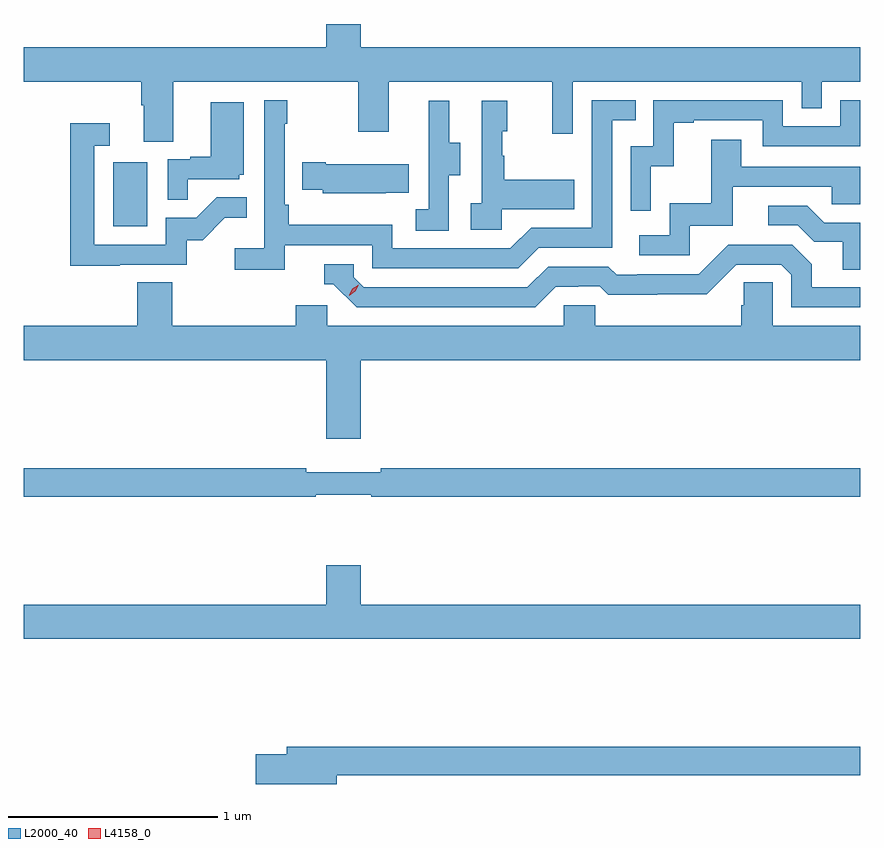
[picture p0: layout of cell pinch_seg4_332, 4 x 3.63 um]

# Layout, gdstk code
import gdstk
lib = gdstk.Library(unit=1e-6, precision=1e-09)
def R(c, l, rs):  # rectangles x0, y0, x1, y1
    for r in rs: c.add(gdstk.rectangle(r[:2], r[2:], *l))
def P(c, l, *ps):  # polygons
    for p in ps: c.add(gdstk.Polygon(p, *l))
L2000_40 = (2000, 40)
L4158_0 = (4158, 0)

pinch_seg4_332 = lib.new_cell('pinch_seg4_332')
R(pinch_seg4_332, L2000_40, [(967.184,810.78,967.348,811.087)])
P(pinch_seg4_332, L2000_40, [(967.471,811.472),(968.356,811.472),(968.356,811.233),(968.503,811.233),(968.503,811.472),(969.284,811.472),(969.284,811.224),(969.381,811.224),(969.381,811.472),(970.476,811.472),(970.476,811.345),(970.572,811.345),(970.572,811.472),(970.757,811.472),(970.757,811.636),(968.368,811.636),(968.368,811.748),(968.204,811.748),(968.204,811.636),(966.757,811.636),(966.757,811.472),(967.319,811.472),(967.319,811.36),(967.331,811.36),(967.331,811.186),(967.471,811.186)],
  [(968.006,810.69),(968.424,810.69),(968.424,810.579),(969.121,810.579),(969.22,810.678),(969.57,810.678),(969.57,811.287),(969.683,811.287),(969.683,811.383),(969.474,811.383),(969.474,810.774),(969.183,810.774),(969.084,810.675),(968.52,810.675),(968.52,810.787),(968.024,810.787),(968.024,810.883),(968.004,810.883),(968.004,811.271),(968.017,811.271),(968.017,811.384),(967.908,811.384),(967.908,810.676),(967.767,810.676),(967.767,810.574),(968.006,810.574)],
  [(969.756,811.067),(969.866,811.067),(969.866,811.275),(969.961,811.275),(969.961,811.287),(970.29,811.287),(970.29,811.164),(970.757,811.164),(970.757,811.383),(970.662,811.383),(970.662,811.26),(970.386,811.26),(970.386,811.383),(969.768,811.383),(969.768,811.164),(969.66,811.164),(969.66,810.855),(969.756,810.855)],
  [(968.79,811.024),(968.845,811.024),(968.845,811.179),(968.791,811.179),(968.791,811.381),(968.693,811.381),(968.693,811.167),(968.694,811.167),(968.694,810.863),(968.631,810.863),(968.631,810.76),(968.79,810.76)],
  [(969.042,810.863),(969.389,810.863),(969.389,811.003),(969.055,811.003),(969.055,811.118),(969.045,811.118),(969.045,811.236),(969.07,811.236),(969.07,811.381),(968.946,811.381),(968.946,810.89),(968.895,810.89),(968.895,810.765),(969.042,810.765)],
  [(967.541,811.005),(967.788,811.005),(967.788,811.026),(967.81,811.026),(967.81,811.375),(967.652,811.375),(967.652,811.114),(967.553,811.114),(967.553,811.101),(967.446,811.101),(967.446,810.907),(967.541,810.907)],
  [(967.217,810.597),(967.536,810.597),(967.536,810.714),(967.612,810.714),(967.719,810.821),(967.823,810.821),(967.823,810.92),(967.679,810.92),(967.581,810.822),(967.437,810.822),(967.437,810.693),(967.095,810.693),(967.095,811.167),(967.168,811.167),(967.168,811.273),(966.979,811.273),(966.979,810.592),(967.217,810.592)],
  [(969.942,810.783),(970.147,810.783),(970.147,810.969),(970.621,810.969),(970.621,810.885),(970.757,810.885),(970.757,811.065),(970.189,811.065),(970.189,811.195),(970.045,811.195),(970.045,810.892),(969.846,810.892),(969.846,810.738),(969.699,810.738),(969.699,810.642),(969.942,810.642)],
  [(968.489,810.941),(968.597,810.941),(968.597,811.078),(968.2,811.078),(968.2,811.086),(968.089,811.086),(968.089,810.956),(968.187,810.956),(968.187,810.938),(968.489,810.938)],
  [(970.757,810.798),(970.585,810.798),(970.504,810.879),(970.317,810.879),(970.317,810.786),(970.458,810.786),(970.538,810.706),(970.673,810.706),(970.673,810.574),(970.757,810.574)],
  [(969.301,810.492),(969.408,810.492),(969.408,810.495),(969.511,810.495),(969.553,810.453),(969.786,810.453),(969.786,810.455),(970.022,810.455),(970.164,810.597),(970.38,810.597),(970.428,810.549),(970.428,810.393),(970.757,810.393),(970.757,810.489),(970.525,810.489),(970.525,810.599),(970.431,810.693),(970.125,810.693),(969.984,810.552),(969.691,810.552),(969.691,810.549),(969.592,810.549),(969.553,810.588),(969.264,810.588),(969.165,810.489),(968.382,810.489),(968.334,810.537),(968.334,810.6),(968.195,810.6),(968.195,810.504),(968.238,810.504),(968.349,810.393),(969.202,810.393)],
  [(968.368,810.14),(970.757,810.14),(970.757,810.304),(970.338,810.304),(970.338,810.512),(970.201,810.512),(970.201,810.402),(970.187,810.402),(970.187,810.304),(969.489,810.304),(969.489,810.402),(969.339,810.402),(969.339,810.304),(968.208,810.304),(968.208,810.402),(968.057,810.402),(968.057,810.304),(967.466,810.304),(967.466,810.512),(967.301,810.512),(967.301,810.304),(966.757,810.304),(966.757,810.14),(968.204,810.14),(968.204,809.766),(968.368,809.766)],
  [(968.153,809.496),(968.419,809.496),(968.419,809.488),(970.757,809.488),(970.757,809.624),(968.464,809.624),(968.464,809.605),(968.108,809.605),(968.108,809.624),(966.757,809.624),(966.757,809.488),(968.153,809.488)],
  [(970.757,808.972),(968.368,808.972),(968.368,809.161),(968.204,809.161),(968.204,808.972),(966.757,808.972),(966.757,808.808),(970.757,808.808)],
  [(968.254,808.156),(970.757,808.156),(970.757,808.292),(968.015,808.292),(968.015,808.256),(967.866,808.256),(967.866,808.114),(968.254,808.114)])
P(pinch_seg4_332, L4158_0, [(968.313,810.449),(968.313,810.45),(968.328,810.482),(968.358,810.502),(968.359,810.502),(968.359,810.501),(968.343,810.469),(968.313,810.449)])

lib.write_gds('pinch_seg4_332.gds')
